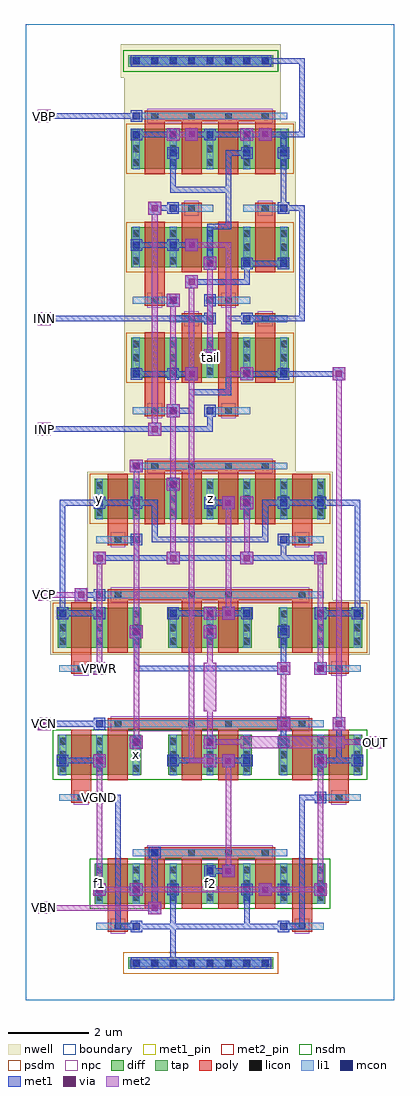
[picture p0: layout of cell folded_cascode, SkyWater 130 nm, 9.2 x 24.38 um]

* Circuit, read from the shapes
.subckt folded_cascode INN INP OUT VBN VBP VCN VCP VGND VPWR f1 f2 tail x y z
XM1 f1 VGND f1 VGND sky130_fd_pr__nfet_01v8 w=1 l=0.5 m=4
XM2 x VCN f1 VGND sky130_fd_pr__nfet_01v8 w=1 l=0.5 m=2
XM3 VGND VBN f1 VGND sky130_fd_pr__nfet_01v8 w=1 l=0.5 m=2
XM4 f2 VBN VGND VGND sky130_fd_pr__nfet_01v8 w=1 l=0.5 m=2
XM5 OUT VCN f2 VGND sky130_fd_pr__nfet_01v8 w=1 l=0.5 m=2
XM6 y VPWR y VPWR sky130_fd_pr__pfet_01v8 w=1 l=0.5 m=4
XM7 x VCP y VPWR sky130_fd_pr__pfet_01v8 w=1 l=0.5 m=2
XM8 VPWR x y VPWR sky130_fd_pr__pfet_01v8 w=1 l=0.5 m=2
XM9 f2 VPWR f2 VPWR sky130_fd_pr__pfet_01v8 w=1 l=0.5 m=2
XM10 f1 VPWR f1 VPWR sky130_fd_pr__pfet_01v8 w=1 l=0.5 m=2
XM11 tail VBP VPWR VPWR sky130_fd_pr__pfet_01v8 w=1 l=0.5 m=4
XM12 OUT VCP z VPWR sky130_fd_pr__pfet_01v8 w=1 l=0.5 m=2
XM13 z x VPWR VPWR sky130_fd_pr__pfet_01v8 w=1 l=0.5 m=2
XM14 tail INN f2 VPWR sky130_fd_pr__pfet_01v8 w=1 l=0.5 m=2
XM15 tail INP f1 VPWR sky130_fd_pr__pfet_01v8 w=1 l=0.5 m=2
.ends

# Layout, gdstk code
import gdstk
lib = gdstk.Library(unit=1e-6, precision=1e-09)
def R(c, l, rs):  # rectangles x0, y0, x1, y1
    for r in rs: c.add(gdstk.rectangle(r[:2], r[2:], *l))
def A(c, l, x, y, w, h, nx, ny, dx, dy):  # array of equal rectangles
    R(c, l, [(x+i*dx, y+j*dy, x+i*dx+w, y+j*dy+h) for i in range(nx) for j in range(ny)])
nwell = (64, 20)
diff = (65, 20)
tap = (65, 44)
poly = (66, 20)
licon = (66, 44)
li1 = (67, 20)
mcon = (67, 44)
met1_pin = (68, 16)
met1 = (68, 20)
via = (68, 44)
met2_pin = (69, 16)
met2 = (69, 20)
nsdm = (93, 44)
psdm = (94, 20)
npc = (95, 20)
boundary = (235, 4)

folded_cascode = lib.new_cell('folded_cascode')
R(folded_cascode, nwell, [(0.615,8.62,8.585,9.98), (1.535,9.98,7.665,13.2), (2.455,13.2,6.745,21.94), (2.455,21.94,6.365,23.04), (2.375,23.04,6.365,23.88)])
A(folded_cascode, diff, 0.795, 5.625, 2.09, 1, 3, 2, 2.76, 3.175)
R(folded_cascode, diff, [(1.715,2.405,7.485,3.405), (1.715,12.02,7.485,13.02), (2.635,15.545,6.565,16.545), (2.635,18.305,6.565,19.305), (2.635,20.76,6.565,21.76)])
R(folded_cascode, tap, [(2.555,0.775,6.185,1.065), (2.555,23.315,6.185,23.605)])
A(folded_cascode, poly, 2.97, 2.275, 0.5, 1.405, 4, 1, 0.92, 0)
A(folded_cascode, poly, 2.97, 11.89, 0.5, 1.45, 4, 2, 0.92, 8.74)
R(folded_cascode, poly, [(2.05,1.705,2.55,1.975), (6.65,1.705,7.15,1.975), (2.05,1.84,2.55,3.535), (6.65,1.84,7.15,3.535), (2.97,3.545,6.23,3.815), (1.13,4.925,1.63,5.195), (7.57,4.925,8.07,5.195), (1.13,5.06,1.63,6.755), (7.57,5.06,8.07,6.755), (2.05,5.495,2.55,6.9), (3.89,5.495,4.39,6.9), (4.81,5.495,5.31,6.9), (6.65,5.495,7.15,6.9), (2.05,6.765,7.15,7.035), (1.13,8.145,1.63,8.415), (7.57,8.145,8.07,8.415), (1.13,8.28,1.63,9.93), (7.57,8.28,8.07,9.93), (2.05,8.67,2.55,10.12), (3.89,8.67,4.39,10.12), (4.81,8.67,5.31,10.12), (6.65,8.67,7.15,10.12), (2.05,9.985,7.15,10.255), (2.05,11.365,2.55,11.635), (6.65,11.365,7.15,11.635), (2.05,11.5,2.55,13.15), (6.65,11.5,7.15,13.15), (2.97,13.205,6.23,13.475), (2.97,14.585,3.47,14.855), (4.81,14.585,5.31,14.855), (2.97,14.72,3.47,16.675), (4.81,14.72,5.31,16.675), (3.89,15.415,4.39,17.02), (5.73,15.415,6.23,17.02), (3.89,16.885,4.39,17.155), (5.73,16.885,6.23,17.155), (2.97,17.345,3.47,17.615), (4.81,17.345,5.31,17.615), (2.97,17.48,3.47,19.435), (4.81,17.48,5.31,19.435), (3.89,18.175,4.39,19.78), (5.73,18.175,6.23,19.78), (3.89,19.645,4.39,19.915), (5.73,19.645,6.23,19.915), (2.97,21.945,6.23,22.215)])
A(folded_cascode, licon, 2.675, 0.835, 0.17, 0.17, 8, 2, 0.46, 22.54)
A(folded_cascode, licon, 1.755, 2.48, 0.17, 0.17, 7, 3, 0.92, 0.34)
A(folded_cascode, licon, 3.135, 3.595, 0.17, 0.17, 4, 2, 0.92, 9.66)
A(folded_cascode, licon, 0.835, 5.7, 0.17, 0.17, 9, 3, 0.92, 0.34)
A(folded_cascode, licon, 0.835, 8.875, 0.17, 0.17, 9, 3, 0.92, 0.34)
A(folded_cascode, licon, 1.755, 12.095, 0.17, 0.17, 7, 3, 0.92, 0.34)
A(folded_cascode, licon, 2.675, 15.62, 0.17, 0.17, 5, 3, 0.92, 0.34)
A(folded_cascode, licon, 2.675, 18.38, 0.17, 0.17, 5, 3, 0.92, 0.34)
A(folded_cascode, licon, 2.675, 20.835, 0.17, 0.17, 5, 3, 0.92, 0.34)
A(folded_cascode, licon, 3.135, 21.995, 0.17, 0.17, 4, 1, 0.92, 0)
R(folded_cascode, licon, [(2.215,1.755,2.385,1.925), (6.815,1.755,6.985,1.925), (1.295,4.975,1.465,5.145), (7.735,4.975,7.905,5.145), (2.215,6.815,2.385,6.985), (4.055,6.815,4.225,6.985), (4.975,6.815,5.145,6.985), (6.815,6.815,6.985,6.985), (1.295,8.195,1.465,8.365), (7.735,8.195,7.905,8.365), (2.215,10.035,2.385,10.205), (4.055,10.035,4.225,10.205), (4.975,10.035,5.145,10.205), (6.815,10.035,6.985,10.205), (2.215,11.415,2.385,11.585), (6.815,11.415,6.985,11.585), (3.135,14.635,3.305,14.805), (4.975,14.635,5.145,14.805), (4.055,16.935,4.225,17.105), (5.895,16.935,6.065,17.105), (3.135,17.395,3.305,17.565), (4.975,17.395,5.145,17.565), (4.055,19.695,4.225,19.865), (5.895,19.695,6.065,19.865)])
A(folded_cascode, li1, 1.755, 2.4, 0.17, 1.01, 7, 2, 0.92, 9.615)
A(folded_cascode, li1, 0.835, 5.62, 0.17, 1.01, 9, 2, 0.92, 3.175)
A(folded_cascode, li1, 2.675, 15.54, 0.17, 1.01, 5, 2, 0.92, 2.76)
A(folded_cascode, li1, 2.675, 20.755, 0.17, 1.01, 5, 1, 0.92, 0)
R(folded_cascode, li1, [(2.595,0.835,6.145,1.005), (1.755,1.755,2.845,1.925), (6.355,1.755,7.445,1.925), (2.675,3.595,6.525,3.765), (0.835,4.975,1.925,5.145), (7.275,4.975,8.365,5.145), (1.755,6.815,7.445,6.985), (0.835,8.195,1.925,8.365), (7.275,8.195,8.365,8.365), (1.755,10.035,7.445,10.205), (1.755,11.415,2.845,11.585), (6.355,11.415,7.445,11.585), (2.675,13.255,6.525,13.425), (2.675,14.635,3.765,14.805), (4.515,14.635,5.605,14.805), (3.595,16.935,4.685,17.105), (5.435,16.935,6.525,17.105), (2.675,17.395,3.765,17.565), (4.515,17.395,5.605,17.565), (3.595,19.695,4.685,19.865), (5.435,19.695,6.525,19.865), (2.675,21.995,6.525,22.165), (2.595,23.375,6.145,23.545)])
A(folded_cascode, mcon, 2.675, 0.835, 0.17, 0.17, 8, 2, 0.46, 22.54)
A(folded_cascode, mcon, 1.755, 2.675, 0.17, 0.17, 3, 1, 0.92, 0)
A(folded_cascode, mcon, 5.435, 2.675, 0.17, 0.17, 3, 1, 0.92, 0)
A(folded_cascode, mcon, 1.755, 5.895, 0.17, 0.17, 4, 2, 1.84, 3.68)
A(folded_cascode, mcon, 2.675, 6.355, 0.17, 0.17, 3, 2, 1.84, 2.76)
A(folded_cascode, mcon, 2.675, 11.415, 0.17, 0.17, 1, 3, 0, 0.92)
A(folded_cascode, mcon, 6.355, 11.415, 0.17, 0.17, 1, 3, 0, 4.14)
A(folded_cascode, mcon, 4.515, 12.335, 0.17, 0.17, 4, 1, 0.92, 0)
A(folded_cascode, mcon, 4.515, 18.315, 0.17, 0.17, 3, 1, 0.92, 0)
R(folded_cascode, mcon, [(2.675,1.755,2.845,1.925), (6.355,1.755,6.525,1.925), (4.515,3.135,4.685,3.305), (3.135,3.595,3.305,3.765), (1.755,4.975,1.925,5.145), (7.275,4.975,7.445,5.145), (0.835,5.895,1.005,6.065), (8.195,5.895,8.365,6.065), (1.755,6.815,1.925,6.985), (1.755,8.195,1.925,8.365), (7.275,8.195,7.445,8.365), (0.835,9.575,1.005,9.745), (8.195,9.575,8.365,9.745), (1.755,10.035,1.925,10.205), (1.755,12.335,1.925,12.505), (3.595,12.795,3.765,12.965), (3.595,14.635,3.765,14.805), (4.515,14.635,4.685,14.805), (2.675,15.555,2.845,15.725), (3.595,15.555,3.765,15.725), (5.435,15.555,5.605,15.725), (4.515,16.015,4.685,16.185), (4.515,16.935,4.685,17.105), (5.435,16.935,5.605,17.105), (3.595,17.395,3.765,17.565), (4.515,17.395,4.685,17.565), (2.675,18.775,2.845,18.945), (3.595,18.775,3.765,18.945), (3.595,19.695,3.765,19.865), (3.595,21.075,3.765,21.245), (5.435,21.075,5.605,21.245), (6.355,21.075,6.525,21.245), (2.675,21.535,2.845,21.705), (4.515,21.535,4.685,21.705), (2.675,21.995,2.845,22.165)])
R(folded_cascode, met1_pin, [(1.695,4.915,1.985,5.205), (1.695,8.135,1.985,8.425)])
A(folded_cascode, met1, 1.695, 2.615, 0.29, 0.29, 3, 1, 0.92, 0)
A(folded_cascode, met1, 5.375, 2.615, 0.29, 0.29, 3, 1, 0.92, 0)
A(folded_cascode, met1, 1.695, 5.835, 0.29, 0.29, 4, 2, 1.84, 3.68)
A(folded_cascode, met1, 2.615, 6.295, 0.29, 0.29, 3, 2, 1.84, 2.76)
A(folded_cascode, met1, 1.68, 10.88, 0.32, 0.32, 4, 1, 1.84, 0)
A(folded_cascode, met1, 2.615, 11.355, 0.29, 0.29, 1, 3, 0, 0.92)
A(folded_cascode, met1, 6.295, 11.355, 0.29, 0.29, 1, 3, 0, 4.14)
A(folded_cascode, met1, 4.455, 12.275, 0.29, 0.29, 4, 1, 0.92, 0)
A(folded_cascode, met1, 4.455, 18.255, 0.29, 0.29, 3, 1, 0.92, 0)
R(folded_cascode, met1, [(2.615,0.775,6.125,1.065), (3.61,0.85,3.75,2.83), (3.61,0.85,3.75,0.99), (2.615,1.695,2.905,1.985), (6.295,1.695,6.585,1.985), (2.23,1.77,2.83,1.91), (2.23,1.77,2.37,5.13), (2.69,1.77,3.75,1.91), (3.61,1.77,6.51,1.91), (5.45,1.77,5.59,2.83), (6.37,1.77,6.97,1.91), (6.83,1.77,6.97,5.13), (3.06,2.14,3.38,2.46), (3.15,2.23,3.29,3.75), (1.68,2.6,2,2.92), (2.6,2.6,2.92,2.92), (5.82,2.6,6.14,2.92), (7.2,2.6,7.52,2.92), (5.91,2.69,6.51,2.83), (4.9,3.06,5.22,3.38), (4.455,3.075,4.745,3.365), (4.53,3.15,5.13,3.29), (3.075,3.535,3.365,3.825), (1.695,4.915,1.985,5.205), (7.215,4.915,7.505,5.205), (1.77,4.99,2.37,5.13), (6.83,4.99,7.43,5.13), (1.68,5.82,2,6.14), (4.44,5.82,4.76,6.14), (4.9,5.82,5.22,6.14), (7.2,5.82,7.52,6.14), (0.775,5.835,1.065,6.125), (8.135,5.835,8.425,6.125), (0.85,5.91,1.91,6.05), (3.61,5.91,4.67,6.05), (4.99,5.91,5.59,6.05), (7.29,5.91,8.35,6.05), (7.75,5.91,7.89,6.97), (2.6,6.28,2.92,6.6), (4.44,6.28,4.76,6.6), (6.37,6.37,6.51,6.97), (0.3,6.74,0.62,7.06), (6.28,6.74,6.6,7.06), (7.66,6.74,7.98,7.06), (1.695,6.755,1.985,7.045), (0.39,6.83,1.91,6.97), (1.68,8.12,2,8.44), (6.28,8.12,6.6,8.44), (7.2,8.12,7.52,8.44), (1.695,8.135,1.985,8.425), (7.215,8.135,7.505,8.425), (2.69,8.21,6.51,8.35), (2.69,8.21,2.83,9.27), (6.37,8.21,6.51,9.27), (2.6,9.04,2.92,9.36), (4.44,9.04,4.76,9.36), (4.44,9.5,4.76,9.82), (4.9,9.5,5.22,9.82), (0.775,9.515,1.065,9.805), (8.135,9.515,8.425,9.805), (0.85,9.59,1.91,9.73), (0.85,9.59,0.99,12.49), (3.61,9.59,4.67,9.73), (4.99,9.59,5.59,9.73), (7.29,9.59,8.35,9.73), (8.21,9.59,8.35,12.49), (1.22,9.96,1.54,10.28), (1.695,9.975,1.985,10.265), (1.31,10.05,1.91,10.19), (1.77,10.97,2.83,11.11), (2.69,10.97,3.75,11.11), (2.69,10.97,2.83,11.57), (3.61,10.97,6.51,11.11), (6.37,10.97,7.43,11.11), (6.37,10.97,6.51,11.57), (3.15,11.43,3.29,12.49), (3.15,11.43,6.05,11.57), (5.91,11.43,6.05,12.49), (4.9,12.26,5.22,12.58), (5.36,12.26,5.68,12.58), (1.695,12.275,1.985,12.565), (0.85,12.35,1.91,12.49), (1.77,12.35,2.83,12.49), (2.69,12.35,3.29,12.49), (4.53,12.35,5.13,12.49), (5.91,12.35,6.51,12.49), (6.37,12.35,7.43,12.49), (7.29,12.35,8.35,12.49), (3.52,12.72,3.84,13.04), (3.535,12.735,3.825,13.025), (2.6,13.18,2.92,13.5), (0.3,14.1,0.62,14.42), (3.06,14.1,3.38,14.42), (0.39,14.19,4.67,14.33), (4.53,14.19,4.67,14.79), (3.52,14.56,3.84,14.88), (3.535,14.575,3.825,14.865), (4.455,14.575,4.745,14.865), (3.61,14.65,4.21,14.79), (4.07,14.65,4.21,15.25), (4.07,15.11,5.13,15.25), (4.99,15.11,5.13,17.09), (3.98,15.48,4.3,15.8), (5.36,15.48,5.68,15.8), (7.66,15.48,7.98,15.8), (2.615,15.495,2.905,15.785), (3.535,15.495,3.825,15.785), (5.375,15.495,5.665,15.785), (2.69,15.57,3.75,15.71), (3.61,15.57,4.21,15.71), (5.45,15.57,6.51,15.71), (6.37,15.57,7.89,15.71), (4.44,15.94,4.76,16.26), (4.455,15.955,4.745,16.245), (0.3,16.86,0.62,17.18), (4.455,16.875,4.745,17.165), (5.375,16.875,5.665,17.165), (0.39,16.95,4.67,17.09), (4.53,16.95,4.67,17.55), (4.99,16.95,5.59,17.09), (5.45,16.95,6.97,17.09), (6.83,16.95,6.97,19.85), (3.52,17.32,3.84,17.64), (3.535,17.335,3.825,17.625), (4.455,17.335,4.745,17.625), (3.98,17.78,4.3,18.1), (4.07,17.87,5.59,18.01), (5.45,17.87,5.59,18.47), (4.44,18.24,4.76,18.56), (4.53,18.33,4.67,19.39), (5.45,18.33,6.51,18.47), (3.98,18.7,4.3,19.02), (2.615,18.715,2.905,19.005), (3.535,18.715,3.825,19.005), (2.69,18.79,3.75,18.93), (3.61,18.79,4.21,18.93), (4.53,19.25,5.13,19.39), (4.99,19.25,5.13,21.23), (3.06,19.62,3.38,19.94), (3.535,19.635,3.825,19.925), (3.15,19.71,3.75,19.85), (6.37,19.71,6.97,19.85), (6.37,19.71,6.51,21.23), (3.61,20.17,5.13,20.31), (3.61,20.17,3.75,21.23), (3.535,21.015,3.825,21.305), (5.375,21.015,5.665,21.305), (6.295,21.015,6.585,21.305), (4.99,21.09,5.59,21.23), (6.37,21.09,6.51,21.69), (3.52,21.46,3.84,21.78), (3.98,21.46,4.3,21.78), (5.36,21.46,5.68,21.78), (5.82,21.46,6.14,21.78), (2.615,21.475,2.905,21.765), (4.455,21.475,4.745,21.765), (2.69,21.55,3.75,21.69), (4.07,21.55,4.67,21.69), (4.53,21.55,5.59,21.69), (5.91,21.55,6.51,21.69), (6.37,21.55,6.97,21.69), (6.83,21.55,6.97,23.53), (0.3,21.92,0.62,22.24), (2.615,21.935,2.905,22.225), (0.39,22.01,2.83,22.15), (2.615,23.315,6.125,23.605), (5.91,23.39,6.97,23.53), (5.91,23.39,6.05,23.53)])
A(folded_cascode, via, 1.765, 10.965, 0.15, 0.15, 4, 1, 1.84, 0)
R(folded_cascode, via, [(3.145,2.225,3.295,2.375), (1.765,2.685,1.915,2.835), (2.685,2.685,2.835,2.835), (5.905,2.685,6.055,2.835), (7.285,2.685,7.435,2.835), (4.985,3.145,5.135,3.295), (1.765,5.905,1.915,6.055), (4.525,5.905,4.675,6.055), (4.985,5.905,5.135,6.055), (7.285,5.905,7.435,6.055), (2.685,6.365,2.835,6.515), (4.525,6.365,4.675,6.515), (0.385,6.825,0.535,6.975), (6.365,6.825,6.515,6.975), (7.745,6.825,7.895,6.975), (1.765,8.205,1.915,8.355), (6.365,8.205,6.515,8.355), (7.285,8.205,7.435,8.355), (2.685,9.125,2.835,9.275), (4.525,9.125,4.675,9.275), (4.525,9.585,4.675,9.735), (4.985,9.585,5.135,9.735), (1.305,10.045,1.455,10.195), (4.985,12.345,5.135,12.495), (5.445,12.345,5.595,12.495), (3.605,12.805,3.755,12.955), (2.685,13.265,2.835,13.415), (0.385,14.185,0.535,14.335), (3.145,14.185,3.295,14.335), (3.605,14.645,3.755,14.795), (4.065,15.565,4.215,15.715), (5.445,15.565,5.595,15.715), (7.745,15.565,7.895,15.715), (4.525,16.025,4.675,16.175), (0.385,16.945,0.535,17.095), (3.605,17.405,3.755,17.555), (4.065,17.865,4.215,18.015), (4.525,18.325,4.675,18.475), (4.065,18.785,4.215,18.935), (3.145,19.705,3.295,19.855), (3.605,21.545,3.755,21.695), (4.065,21.545,4.215,21.695), (5.445,21.545,5.595,21.695), (5.905,21.545,6.055,21.695), (0.385,22.005,0.535,22.155)])
R(folded_cascode, met2_pin, [(0.31,2.15,0.61,2.45), (8.59,6.29,8.89,6.59), (0.31,6.75,0.61,7.05), (0.31,9.97,0.61,10.27), (0.31,14.11,0.61,14.41), (0.31,16.87,0.61,17.17), (0.31,21.93,0.61,22.23)])
A(folded_cascode, met2, 1.68, 10.88, 0.32, 0.32, 4, 1, 1.84, 0)
R(folded_cascode, met2, [(3.06,2.14,3.38,2.46), (0.31,2.15,0.61,2.45), (0.39,2.23,0.53,2.37), (0.39,2.23,3.29,2.37), (1.68,2.6,2,2.92), (2.6,2.6,2.92,2.92), (5.82,2.6,6.14,2.92), (7.2,2.6,7.52,2.92), (1.77,2.69,2.83,2.83), (1.77,2.69,1.91,6.05), (2.69,2.69,6.05,2.83), (5.91,2.69,7.43,2.83), (7.29,2.69,7.43,6.05), (4.9,3.06,5.22,3.38), (4.99,3.15,5.13,6.05), (1.68,5.82,2,6.14), (4.44,5.82,4.76,6.14), (4.9,5.82,5.22,6.14), (7.2,5.82,7.52,6.14), (4.07,5.91,4.67,6.05), (4.07,5.91,4.21,15.71), (4.53,5.91,5.13,6.05), (2.6,6.28,2.92,6.6), (4.44,6.28,4.76,6.6), (5.37,6.29,7.97,6.59), (8.59,6.29,8.89,6.59), (2.69,6.37,2.83,9.27), (4.53,6.37,4.67,7.43), (4.53,6.37,5.59,6.51), (7.75,6.37,8.81,6.51), (8.67,6.37,8.81,6.51), (0.3,6.74,0.62,7.06), (6.28,6.74,6.6,7.06), (7.66,6.74,7.98,7.06), (0.31,6.75,0.61,7.05), (0.39,6.83,0.53,6.97), (6.37,6.83,6.51,8.35), (7.75,6.83,7.89,15.71), (4.45,7.21,4.75,8.43), (1.68,8.12,2,8.44), (6.28,8.12,6.6,8.44), (7.2,8.12,7.52,8.44), (1.77,8.21,1.91,11.11), (4.53,8.21,4.67,9.27), (7.29,8.21,7.43,11.11), (2.6,9.04,2.92,9.36), (4.44,9.04,4.76,9.36), (2.69,9.13,2.83,13.41), (4.44,9.5,4.76,9.82), (4.9,9.5,5.22,9.82), (4.53,9.59,5.13,9.73), (4.99,9.59,5.13,12.49), (1.22,9.96,1.54,10.28), (0.31,9.97,0.61,10.27), (0.39,10.05,0.53,10.19), (0.39,10.05,1.45,10.19), (3.61,10.97,3.75,12.95), (5.45,10.97,5.59,12.49), (4.9,12.26,5.22,12.58), (5.36,12.26,5.68,12.58), (3.52,12.72,3.84,13.04), (3.61,12.81,3.75,14.79), (2.6,13.18,2.92,13.5), (0.3,14.1,0.62,14.42), (3.06,14.1,3.38,14.42), (0.31,14.11,0.61,14.41), (0.39,14.19,0.53,14.33), (3.15,14.19,3.29,19.85), (3.52,14.56,3.84,14.88), (3.61,14.65,3.75,17.55), (3.98,15.48,4.3,15.8), (5.36,15.48,5.68,15.8), (7.66,15.48,7.98,15.8), (4.07,15.57,4.21,18.01), (4.99,15.57,5.59,15.71), (4.99,15.57,5.13,18.93), (4.44,15.94,4.76,16.26), (4.53,16.03,4.67,18.47), (0.3,16.86,0.62,17.18), (0.31,16.87,0.61,17.17), (0.39,16.95,0.53,17.09), (3.52,17.32,3.84,17.64), (3.98,17.78,4.3,18.1), (4.44,18.24,4.76,18.56), (3.98,18.7,4.3,19.02), (4.07,18.79,5.13,18.93), (3.06,19.62,3.38,19.94), (3.52,21.46,3.84,21.78), (3.98,21.46,4.3,21.78), (5.36,21.46,5.68,21.78), (5.82,21.46,6.14,21.78), (3.61,21.55,4.21,21.69), (5.45,21.55,6.05,21.69), (0.3,21.92,0.62,22.24), (0.31,21.93,0.61,22.23), (0.39,22.01,0.53,22.15)])
R(folded_cascode, nsdm, [(1.59,2.28,7.61,3.53), (0.67,5.5,8.53,6.75), (2.43,23.19,6.31,23.73)])
R(folded_cascode, psdm, [(2.43,0.65,6.31,1.19), (0.67,8.675,8.53,9.925), (1.59,11.895,7.61,13.145), (2.51,15.42,6.69,16.67), (2.51,18.18,6.69,19.43), (2.51,20.635,6.69,21.885)])
R(folded_cascode, npc, [(2.115,1.655,2.485,2.025), (6.715,1.655,7.085,2.025), (3.035,3.495,6.165,3.865), (1.195,4.875,1.565,5.245), (7.635,4.875,8.005,5.245), (2.115,6.715,7.085,7.085), (1.195,8.095,1.565,8.465), (7.635,8.095,8.005,8.465), (2.115,9.935,7.085,10.305), (2.115,11.315,2.485,11.685), (6.715,11.315,7.085,11.685), (3.035,13.155,6.165,13.525), (3.035,14.535,3.405,14.905), (4.875,14.535,5.245,14.905), (3.955,16.835,4.325,17.205), (5.795,16.835,6.165,17.205), (3.035,17.295,3.405,17.665), (4.875,17.295,5.245,17.665), (3.955,19.595,4.325,19.965), (5.795,19.595,6.165,19.965), (3.035,21.895,6.165,22.265)])
R(folded_cascode, boundary, [(0,0,9.2,24.38)])
folded_cascode.add(gdstk.Label('f1', (1.84,2.905), layer=67, texttype=5))
folded_cascode.add(gdstk.Label('f2', (4.6,2.905), layer=67, texttype=5))
folded_cascode.add(gdstk.Label('x', (2.76,6.125), layer=67, texttype=5))
folded_cascode.add(gdstk.Label('y', (1.84,12.52), layer=67, texttype=5))
folded_cascode.add(gdstk.Label('z', (4.6,12.52), layer=67, texttype=5))
folded_cascode.add(gdstk.Label('tail', (4.6,16.045), layer=67, texttype=5))
folded_cascode.add(gdstk.Label('VPWR', (1.84,8.28), layer=68, texttype=5))
folded_cascode.add(gdstk.Label('VGND', (1.84,5.06), layer=68, texttype=5))
folded_cascode.add(gdstk.Label('INP', (0.46,14.26), layer=69, texttype=5))
folded_cascode.add(gdstk.Label('INN', (0.46,17.02), layer=69, texttype=5))
folded_cascode.add(gdstk.Label('VBP', (0.46,22.08), layer=69, texttype=5))
folded_cascode.add(gdstk.Label('VBN', (0.46,2.3), layer=69, texttype=5))
folded_cascode.add(gdstk.Label('VCN', (0.46,6.9), layer=69, texttype=5))
folded_cascode.add(gdstk.Label('VCP', (0.46,10.12), layer=69, texttype=5))
folded_cascode.add(gdstk.Label('OUT', (8.74,6.44), layer=69, texttype=5))
folded_cascode.add(gdstk.Label('VPWR', (1.84,8.28), layer=68, texttype=16))
folded_cascode.add(gdstk.Label('VGND', (1.84,5.06), layer=68, texttype=16))
folded_cascode.add(gdstk.Label('INP', (0.46,14.26), layer=69, texttype=16))
folded_cascode.add(gdstk.Label('INN', (0.46,17.02), layer=69, texttype=16))
folded_cascode.add(gdstk.Label('VBP', (0.46,22.08), layer=69, texttype=16))
folded_cascode.add(gdstk.Label('VBN', (0.46,2.3), layer=69, texttype=16))
folded_cascode.add(gdstk.Label('VCN', (0.46,6.9), layer=69, texttype=16))
folded_cascode.add(gdstk.Label('VCP', (0.46,10.12), layer=69, texttype=16))
folded_cascode.add(gdstk.Label('OUT', (8.74,6.44), layer=69, texttype=16))

lib.write_gds('folded_cascode.gds')
